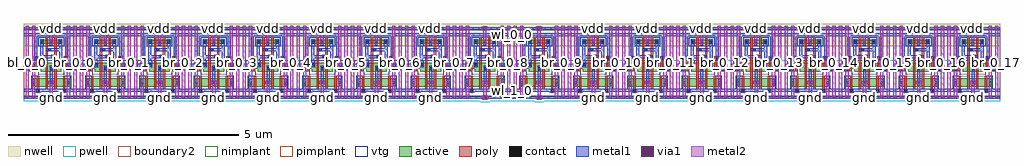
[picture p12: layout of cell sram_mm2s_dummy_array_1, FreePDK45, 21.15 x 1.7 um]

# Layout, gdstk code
import gdstk
lib = gdstk.Library(unit=1e-6, precision=5e-10)
def R(c, l, rs):  # rectangles x0, y0, x1, y1
    for r in rs: c.add(gdstk.rectangle(r[:2], r[2:], *l))
def A(c, l, x, y, w, h, nx, ny, dx, dy):  # array of equal rectangles
    R(c, l, [(x+i*dx, y+j*dy, x+i*dx+w, y+j*dy+h) for i in range(nx) for j in range(ny)])
active = (1, 0)
pwell = (2, 0)
nwell = (3, 0)
nimplant = (4, 0)
pimplant = (5, 0)
vtg = (6, 0)
poly = (9, 0)
contact = (10, 0)
metal1 = (11, 0)
via1 = (12, 0)
metal2 = (13, 0)
boundary2 = (239, 0)

dummy_cell_2rw = lib.new_cell('dummy_cell_2rw')
R(dummy_cell_2rw, active, [(0.545,-0.045,0.635,0.045), (0.165,0.2325,0.22,0.4125), (0.2075,0.2325,0.2775,0.4125), (0.2075,0.2325,0.3975,0.4125), (0.3275,0.2325,0.3975,0.4125), (0.3975,0.2325,0.4675,0.4125), (0.3975,0.2325,0.5875,0.4125), (0.5175,0.2325,0.5875,0.4125), (0.5525,0.2325,0.6275,0.4125), (0.5525,0.2325,0.6275,0.4125), (0.5525,0.2325,0.7775,0.4125), (0.7075,0.2325,0.7775,0.4125), (0.7775,0.2325,0.8475,0.4125), (0.7775,0.2325,0.9675,0.4125), (0.8975,0.2325,0.9675,0.4125), (0.955,0.2325,1.01,0.4125), (0.165,0.2775,0.255,0.3675), (0.92,0.2775,1.01,0.3675), (0.5525,0.2875,0.6275,0.3625), (0.3625,0.5525,0.4375,0.7575), (0.3625,0.5525,0.4375,0.7575), (0.3625,0.5525,0.5875,0.7575), (0.5175,0.5525,0.5875,0.7575), (0.5875,0.5525,0.6575,0.7575), (0.5875,0.5525,0.8125,0.7575), (0.7375,0.5525,0.8125,0.7575), (0.7375,0.5525,0.8125,0.7575), (0.545,0.5725,0.635,0.6625), (0.1575,0.6225,0.2325,0.6975), (0.1575,0.6225,0.2325,0.7575), (0.1575,0.6225,0.2325,0.7575), (0.1575,0.6225,0.3825,0.7575), (0.3125,0.6225,0.3825,0.7575), (0.7925,0.6225,0.8625,0.7575), (0.7925,0.6225,1.0175,0.7575), (0.9425,0.6225,1.0175,0.6975), (0.9425,0.6225,1.0175,0.7575), (0.9425,0.6225,1.0175,0.7575), (0.3625,0.6825,0.4375,0.7575), (0.7375,0.6825,0.8125,0.7575), (0.3625,1.1625,0.4375,1.2375), (0.3625,1.1625,0.4375,1.2525), (0.3625,1.1625,0.4375,1.2525), (0.3625,1.1625,0.6225,1.2525), (0.5475,1.1625,0.6225,1.2375), (0.5475,1.1625,0.6225,1.2525), (0.5475,1.1625,0.6225,1.2525), (0.5875,1.1625,0.6575,1.2525), (0.5875,1.1625,0.8125,1.2525), (0.7375,1.1625,0.8125,1.2375), (0.7375,1.1625,0.8125,1.2525), (0.7375,1.1625,0.8125,1.2525), (0.54,1.45,0.63,1.54)])
R(dummy_cell_2rw, pwell, [(0.49,-0.1,0.69,0.1), (0,-0.085,1.175,0.8125), (0.1525,0.1775,0.4525,0.4675), (0.3425,0.1775,0.6425,0.4675), (0.4975,0.1775,0.8325,0.4675), (0.7225,0.1775,1.0225,0.4675), (0.3075,0.4975,0.6425,0.8125), (0.5325,0.4975,0.8675,0.8125), (0.1025,0.5675,0.4375,0.8125), (0.7375,0.5675,1.0725,0.8125)])
R(dummy_cell_2rw, nwell, [(0,1.1075,1.175,1.595), (0.3075,1.1075,0.6775,1.3075), (0.5325,1.1075,0.8675,1.3075), (0.485,1.395,0.685,1.595)])
R(dummy_cell_2rw, nimplant, [(0.165,0.2325,0.22,0.4125), (0.2075,0.2325,0.3975,0.4125), (0.3975,0.2325,0.5875,0.4125), (0.5525,0.2325,0.7775,0.4125), (0.7775,0.2325,0.9675,0.4125), (0.955,0.2325,1.01,0.4125), (0.165,0.2775,0.255,0.3675), (0.92,0.2775,1.01,0.3675), (0.3625,0.5525,0.5875,0.7575), (0.5875,0.5525,0.8125,0.7575), (0.545,0.5725,0.635,0.6625), (0.1575,0.6225,0.3825,0.7575), (0.7925,0.6225,1.0175,0.7575), (0.54,1.45,0.63,1.54)])
R(dummy_cell_2rw, pimplant, [(0.545,-0.045,0.635,0.045), (0.3625,1.1625,0.6225,1.2525), (0.5875,1.1625,0.8125,1.2525)])
R(dummy_cell_2rw, vtg, [(0.1525,0.1775,0.4525,0.4675), (0.3425,0.1775,0.6425,0.4675), (0.4975,0.1775,0.8325,0.4675), (0.7225,0.1775,1.0225,0.4675), (0.3075,0.4975,0.6425,0.8125), (0.5325,0.4975,0.8675,0.8125), (0.1025,0.5675,0.4375,0.8125), (0.7375,0.5675,1.0725,0.8125), (0.3075,1.1075,0.6775,1.3075), (0.5325,1.1075,0.8675,1.3075)])
A(dummy_cell_2rw, poly, 0.2775, 0.1775, 0.05, 0.055, 4, 2, 0.19, 0.235)
A(dummy_cell_2rw, poly, 0.2775, 0.1775, 0.05, 0.29, 4, 1, 0.19, 0)
R(dummy_cell_2rw, poly, [(0.265,0.1075,0.34,0.1825), (0.835,0.1075,0.91,0.1825), (0.6575,0.44,0.7075,0.525), (0.4675,0.45,0.5175,0.525), (0.4675,0.4975,0.5175,0.8125), (0.4675,0.4975,0.5175,0.5525), (0.6575,0.4975,0.7075,0.8125), (0.6575,0.4975,0.7075,0.5525), (0.2625,0.5675,0.3125,0.6225), (0.2625,0.5675,0.3125,0.8125), (0.8625,0.5675,0.9125,0.6225), (0.8625,0.5675,0.9125,0.8125), (0.4675,0.7225,0.5175,1.135), (0.6575,0.7225,0.7075,1.135), (0.2625,0.7575,0.3125,0.8125), (0.4675,0.7575,0.5175,0.8125), (0.6575,0.7575,0.7075,0.8125), (0.8625,0.7575,0.9125,0.8125), (0.2625,0.8,0.3125,0.8975), (0.8625,0.8,0.9125,0.8975), (0.2125,0.8225,0.2875,0.8975), (0.8875,0.8225,0.9625,0.8975), (0.5925,0.8475,0.6675,0.9225), (0.5075,0.9975,0.5825,1.0725), (0.4675,1.1075,0.5175,1.1625), (0.4675,1.1075,0.5175,1.3075), (0.6575,1.1075,0.7075,1.1625), (0.6575,1.1075,0.7075,1.3075), (0.4675,1.2525,0.5175,1.3075), (0.6575,1.2525,0.7075,1.3075)])
R(dummy_cell_2rw, contact, [(0.5575,-0.0325,0.6225,0.0325), (0.27,0.1125,0.335,0.1775), (0.84,0.1125,0.905,0.1775), (0.1775,0.29,0.2425,0.355), (0.9325,0.29,0.9975,0.355), (0.5575,0.2925,0.6225,0.3575), (0.5575,0.585,0.6225,0.65), (0.1625,0.6275,0.2275,0.6925), (0.9475,0.6275,1.0125,0.6925), (0.3675,0.6875,0.4325,0.7525), (0.7425,0.6875,0.8075,0.7525), (0.2175,0.8275,0.2825,0.8925), (0.8925,0.8275,0.9575,0.8925), (0.5975,0.8525,0.6625,0.9175), (0.5125,1.0025,0.5775,1.0675), (0.3675,1.1675,0.4325,1.2325), (0.5525,1.1675,0.6175,1.2325), (0.7425,1.1675,0.8075,1.2325), (0.5525,1.4625,0.6175,1.5275)])
R(dummy_cell_2rw, metal1, [(0,-0.0325,1.175,0.0325), (0,-0.0325,1.175,0.0325), (0.235,0.1125,0.37,0.1775), (0.805,0.1125,0.94,0.1775), (0,0.1225,1.175,0.1875), (0,0.1225,1.175,0.1875), (0.1775,0.255,0.2425,0.39), (0.1775,0.255,0.2425,0.39), (0.9325,0.255,0.9975,0.39), (0.9325,0.255,0.9975,0.39), (0.5575,0.2575,0.6225,0.615), (0.5575,0.55,0.6225,0.685), (0.0375,0.5925,0.1025,0.7275), (0.0375,0.5925,0.2275,0.7275), (0.1625,0.5925,0.2275,0.7275), (0.9475,0.5925,1.0125,0.7275), (0.9475,0.5925,1.1375,0.7275), (1.0725,0.5925,1.1375,0.7275), (0.3475,0.6525,0.4125,1.2675), (0.3675,0.6525,0.4325,0.7875), (0.7425,0.6525,0.8075,0.7875), (0.7625,0.6525,0.8275,1.2675), (0.2175,0.7925,0.2825,0.9275), (0.8925,0.7925,0.9575,0.9275), (0.3675,0.8525,0.5825,0.9175), (0.5625,0.8525,0.6975,0.9175), (0.2175,0.895,0.2825,1.385), (0.8925,0.895,0.9575,1.385), (0.4775,1.0025,0.6125,1.0675), (0.5925,1.0025,0.8275,1.0675), (0.3675,1.1325,0.4325,1.2675), (0.5525,1.1325,0.6175,1.2675), (0.5525,1.1325,0.6175,1.2675), (0.7425,1.1325,0.8075,1.2675), (0,1.3325,1.175,1.3975), (0,1.3325,1.175,1.3975), (0,1.4625,1.175,1.5275), (0,1.4625,1.175,1.5275)])
R(dummy_cell_2rw, via1, [(0.5575,-0.0325,0.6225,0.0325), (0.5575,0.2925,0.6225,0.3575), (0.5525,1.1675,0.6175,1.2325), (0.5525,1.4625,0.6175,1.5275)])
R(dummy_cell_2rw, metal2, [(0.5225,-0.035,0.6575,0.035), (0.035,-0.015,0.105,1.56), (0.035,-0.015,0.105,1.56), (0.175,-0.015,0.245,1.56), (0.175,-0.015,0.245,1.56), (0.93,-0.015,1,1.56), (0.93,-0.015,1,1.56), (1.07,-0.015,1.14,1.56), (1.07,-0.015,1.14,1.56), (0.555,0.005,0.625,0.29), (0.175,0.255,0.245,0.39), (0.93,0.255,1,0.39), (0.5225,0.29,0.6575,0.36), (0.035,0.5925,0.105,0.7275), (1.07,0.5925,1.14,0.7275), (0.55,1.1325,0.62,1.2675), (1.0875,1.1375,1.1325,1.1725), (0.9525,1.145,0.985,1.175), (0.1925,1.155,0.23,1.18), (0.0475,1.1575,0.09,1.185), (0.55,1.1575,0.62,1.5275), (0.5175,1.46,0.6525,1.53)])
R(dummy_cell_2rw, boundary2, [(0,0,1.175,1.495)])
dummy_cell_2rw.add(gdstk.Label('gnd', (0.59,0), layer=11, texttype=0))
dummy_cell_2rw.add(gdstk.Label('wl1', (0.14,0.1625), layer=11, texttype=0))
dummy_cell_2rw.add(gdstk.Label('vdd', (0.585,1.495), layer=11, texttype=0))
dummy_cell_2rw.add(gdstk.Label('wl0', (0.14,1.355), layer=11, texttype=0))
dummy_cell_2rw.add(gdstk.Label('br0', (1.1075,1.1575), layer=13, texttype=0))
dummy_cell_2rw.add(gdstk.Label('br1', (0.9675,1.1625), layer=13, texttype=0))
dummy_cell_2rw.add(gdstk.Label('bl1', (0.205,1.1725), layer=13, texttype=0))
dummy_cell_2rw.add(gdstk.Label('bl0', (0.07,1.1725), layer=13, texttype=0))
dummy_cell_2rw.add(gdstk.Label('bl0', (0.07,0.7725), layer=13, texttype=0))
dummy_cell_2rw.add(gdstk.Label('br0', (1.105,0.7725), layer=13, texttype=0))
dummy_cell_2rw.add(gdstk.Label('bl1', (0.21,0.7725), layer=13, texttype=0))
dummy_cell_2rw.add(gdstk.Label('br1', (0.965,0.7725), layer=13, texttype=0))
dummy_cell_2rw.add(gdstk.Label('wl0', (0.5875,1.365), layer=11, texttype=0))
dummy_cell_2rw.add(gdstk.Label('wl1', (0.5875,0.155), layer=11, texttype=0))
dummy_cell_2rw.add(gdstk.Label('vdd', (0.5875,1.495), layer=11, texttype=0))
dummy_cell_2rw.add(gdstk.Label('gnd', (0.5875,0), layer=11, texttype=0))

sram_mm2s_dummy_array_1 = lib.new_cell('sram_mm2s_dummy_array_1')
A(sram_mm2s_dummy_array_1, metal1, 0, -0.0325, 1.175, 0.065, 18, 2, 1.175, 1.495)
R(sram_mm2s_dummy_array_1, metal1, [(0,0.1225,21.15,0.1875), (0,1.3325,21.15,1.3975)])
A(sram_mm2s_dummy_array_1, metal2, 0.93, 0, 0.07, 1.495, 4, 1, 0.14, 0)
A(sram_mm2s_dummy_array_1, metal2, 2.105, 0, 0.07, 1.495, 4, 1, 0.14, 0)
A(sram_mm2s_dummy_array_1, metal2, 3.28, 0, 0.07, 1.495, 4, 1, 0.14, 0)
A(sram_mm2s_dummy_array_1, metal2, 4.455, 0, 0.07, 1.495, 4, 1, 0.14, 0)
A(sram_mm2s_dummy_array_1, metal2, 5.63, 0, 0.07, 1.495, 4, 1, 0.14, 0)
A(sram_mm2s_dummy_array_1, metal2, 6.805, 0, 0.07, 1.495, 4, 1, 0.14, 0)
A(sram_mm2s_dummy_array_1, metal2, 7.98, 0, 0.07, 1.495, 4, 1, 0.14, 0)
A(sram_mm2s_dummy_array_1, metal2, 9.155, 0, 0.07, 1.495, 4, 1, 0.14, 0)
A(sram_mm2s_dummy_array_1, metal2, 10.33, 0, 0.07, 1.495, 4, 1, 0.14, 0)
A(sram_mm2s_dummy_array_1, metal2, 11.505, 0, 0.07, 1.495, 4, 1, 0.14, 0)
A(sram_mm2s_dummy_array_1, metal2, 12.68, 0, 0.07, 1.495, 4, 1, 0.14, 0)
A(sram_mm2s_dummy_array_1, metal2, 13.855, 0, 0.07, 1.495, 4, 1, 0.14, 0)
A(sram_mm2s_dummy_array_1, metal2, 15.03, 0, 0.07, 1.495, 4, 1, 0.14, 0)
A(sram_mm2s_dummy_array_1, metal2, 16.205, 0, 0.07, 1.495, 4, 1, 0.14, 0)
A(sram_mm2s_dummy_array_1, metal2, 17.38, 0, 0.07, 1.495, 4, 1, 0.14, 0)
A(sram_mm2s_dummy_array_1, metal2, 18.555, 0, 0.07, 1.495, 4, 1, 0.14, 0)
A(sram_mm2s_dummy_array_1, metal2, 19.73, 0, 0.07, 1.495, 4, 1, 0.14, 0)
R(sram_mm2s_dummy_array_1, metal2, [(0.035,0,0.105,1.495), (0.175,0,0.245,1.495), (20.905,0,20.975,1.495), (21.045,0,21.115,1.495)])
R(sram_mm2s_dummy_array_1, boundary2, [(0,0,21.15,1.495)])
sram_mm2s_dummy_array_1.add(gdstk.Reference(dummy_cell_2rw, (0,0)))
sram_mm2s_dummy_array_1.add(gdstk.Reference(dummy_cell_2rw, (1.175,0)))
sram_mm2s_dummy_array_1.add(gdstk.Reference(dummy_cell_2rw, (2.35,0)))
sram_mm2s_dummy_array_1.add(gdstk.Reference(dummy_cell_2rw, (3.525,0)))
sram_mm2s_dummy_array_1.add(gdstk.Reference(dummy_cell_2rw, (4.7,0)))
sram_mm2s_dummy_array_1.add(gdstk.Reference(dummy_cell_2rw, (5.875,0)))
sram_mm2s_dummy_array_1.add(gdstk.Reference(dummy_cell_2rw, (7.05,0)))
sram_mm2s_dummy_array_1.add(gdstk.Reference(dummy_cell_2rw, (8.225,0)))
sram_mm2s_dummy_array_1.add(gdstk.Reference(dummy_cell_2rw, (9.4,0)))
sram_mm2s_dummy_array_1.add(gdstk.Reference(dummy_cell_2rw, (10.575,0)))
sram_mm2s_dummy_array_1.add(gdstk.Reference(dummy_cell_2rw, (11.75,0)))
sram_mm2s_dummy_array_1.add(gdstk.Reference(dummy_cell_2rw, (12.925,0)))
sram_mm2s_dummy_array_1.add(gdstk.Reference(dummy_cell_2rw, (14.1,0)))
sram_mm2s_dummy_array_1.add(gdstk.Reference(dummy_cell_2rw, (15.275,0)))
sram_mm2s_dummy_array_1.add(gdstk.Reference(dummy_cell_2rw, (16.45,0)))
sram_mm2s_dummy_array_1.add(gdstk.Reference(dummy_cell_2rw, (17.625,0)))
sram_mm2s_dummy_array_1.add(gdstk.Reference(dummy_cell_2rw, (18.8,0)))
sram_mm2s_dummy_array_1.add(gdstk.Reference(dummy_cell_2rw, (19.975,0)))
sram_mm2s_dummy_array_1.add(gdstk.Label('bl_0_0', (0.07,0.7475), layer=13, texttype=0))
sram_mm2s_dummy_array_1.add(gdstk.Label('br_0_0', (1.105,0.7475), layer=13, texttype=0))
sram_mm2s_dummy_array_1.add(gdstk.Label('bl_1_0', (0.21,0.7475), layer=13, texttype=0))
sram_mm2s_dummy_array_1.add(gdstk.Label('br_1_0', (0.965,0.7475), layer=13, texttype=0))
sram_mm2s_dummy_array_1.add(gdstk.Label('bl_0_1', (1.245,0.7475), layer=13, texttype=0))
sram_mm2s_dummy_array_1.add(gdstk.Label('br_0_1', (2.28,0.7475), layer=13, texttype=0))
sram_mm2s_dummy_array_1.add(gdstk.Label('bl_1_1', (1.385,0.7475), layer=13, texttype=0))
sram_mm2s_dummy_array_1.add(gdstk.Label('br_1_1', (2.14,0.7475), layer=13, texttype=0))
sram_mm2s_dummy_array_1.add(gdstk.Label('bl_0_2', (2.42,0.7475), layer=13, texttype=0))
sram_mm2s_dummy_array_1.add(gdstk.Label('br_0_2', (3.455,0.7475), layer=13, texttype=0))
sram_mm2s_dummy_array_1.add(gdstk.Label('bl_1_2', (2.56,0.7475), layer=13, texttype=0))
sram_mm2s_dummy_array_1.add(gdstk.Label('br_1_2', (3.315,0.7475), layer=13, texttype=0))
sram_mm2s_dummy_array_1.add(gdstk.Label('bl_0_3', (3.595,0.7475), layer=13, texttype=0))
sram_mm2s_dummy_array_1.add(gdstk.Label('br_0_3', (4.63,0.7475), layer=13, texttype=0))
sram_mm2s_dummy_array_1.add(gdstk.Label('bl_1_3', (3.735,0.7475), layer=13, texttype=0))
sram_mm2s_dummy_array_1.add(gdstk.Label('br_1_3', (4.49,0.7475), layer=13, texttype=0))
sram_mm2s_dummy_array_1.add(gdstk.Label('bl_0_4', (4.77,0.7475), layer=13, texttype=0))
sram_mm2s_dummy_array_1.add(gdstk.Label('br_0_4', (5.805,0.7475), layer=13, texttype=0))
sram_mm2s_dummy_array_1.add(gdstk.Label('bl_1_4', (4.91,0.7475), layer=13, texttype=0))
sram_mm2s_dummy_array_1.add(gdstk.Label('br_1_4', (5.665,0.7475), layer=13, texttype=0))
sram_mm2s_dummy_array_1.add(gdstk.Label('bl_0_5', (5.945,0.7475), layer=13, texttype=0))
sram_mm2s_dummy_array_1.add(gdstk.Label('br_0_5', (6.98,0.7475), layer=13, texttype=0))
sram_mm2s_dummy_array_1.add(gdstk.Label('bl_1_5', (6.085,0.7475), layer=13, texttype=0))
sram_mm2s_dummy_array_1.add(gdstk.Label('br_1_5', (6.84,0.7475), layer=13, texttype=0))
sram_mm2s_dummy_array_1.add(gdstk.Label('bl_0_6', (7.12,0.7475), layer=13, texttype=0))
sram_mm2s_dummy_array_1.add(gdstk.Label('br_0_6', (8.155,0.7475), layer=13, texttype=0))
sram_mm2s_dummy_array_1.add(gdstk.Label('bl_1_6', (7.26,0.7475), layer=13, texttype=0))
sram_mm2s_dummy_array_1.add(gdstk.Label('br_1_6', (8.015,0.7475), layer=13, texttype=0))
sram_mm2s_dummy_array_1.add(gdstk.Label('bl_0_7', (8.295,0.7475), layer=13, texttype=0))
sram_mm2s_dummy_array_1.add(gdstk.Label('br_0_7', (9.33,0.7475), layer=13, texttype=0))
sram_mm2s_dummy_array_1.add(gdstk.Label('bl_1_7', (8.435,0.7475), layer=13, texttype=0))
sram_mm2s_dummy_array_1.add(gdstk.Label('br_1_7', (9.19,0.7475), layer=13, texttype=0))
sram_mm2s_dummy_array_1.add(gdstk.Label('bl_0_8', (9.47,0.7475), layer=13, texttype=0))
sram_mm2s_dummy_array_1.add(gdstk.Label('br_0_8', (10.505,0.7475), layer=13, texttype=0))
sram_mm2s_dummy_array_1.add(gdstk.Label('bl_1_8', (9.61,0.7475), layer=13, texttype=0))
sram_mm2s_dummy_array_1.add(gdstk.Label('br_1_8', (10.365,0.7475), layer=13, texttype=0))
sram_mm2s_dummy_array_1.add(gdstk.Label('bl_0_9', (10.645,0.7475), layer=13, texttype=0))
sram_mm2s_dummy_array_1.add(gdstk.Label('br_0_9', (11.68,0.7475), layer=13, texttype=0))
sram_mm2s_dummy_array_1.add(gdstk.Label('bl_1_9', (10.785,0.7475), layer=13, texttype=0))
sram_mm2s_dummy_array_1.add(gdstk.Label('br_1_9', (11.54,0.7475), layer=13, texttype=0))
sram_mm2s_dummy_array_1.add(gdstk.Label('bl_0_10', (11.82,0.7475), layer=13, texttype=0))
sram_mm2s_dummy_array_1.add(gdstk.Label('br_0_10', (12.855,0.7475), layer=13, texttype=0))
sram_mm2s_dummy_array_1.add(gdstk.Label('bl_1_10', (11.96,0.7475), layer=13, texttype=0))
sram_mm2s_dummy_array_1.add(gdstk.Label('br_1_10', (12.715,0.7475), layer=13, texttype=0))
sram_mm2s_dummy_array_1.add(gdstk.Label('bl_0_11', (12.995,0.7475), layer=13, texttype=0))
sram_mm2s_dummy_array_1.add(gdstk.Label('br_0_11', (14.03,0.7475), layer=13, texttype=0))
sram_mm2s_dummy_array_1.add(gdstk.Label('bl_1_11', (13.135,0.7475), layer=13, texttype=0))
sram_mm2s_dummy_array_1.add(gdstk.Label('br_1_11', (13.89,0.7475), layer=13, texttype=0))
sram_mm2s_dummy_array_1.add(gdstk.Label('bl_0_12', (14.17,0.7475), layer=13, texttype=0))
sram_mm2s_dummy_array_1.add(gdstk.Label('br_0_12', (15.205,0.7475), layer=13, texttype=0))
sram_mm2s_dummy_array_1.add(gdstk.Label('bl_1_12', (14.31,0.7475), layer=13, texttype=0))
sram_mm2s_dummy_array_1.add(gdstk.Label('br_1_12', (15.065,0.7475), layer=13, texttype=0))
sram_mm2s_dummy_array_1.add(gdstk.Label('bl_0_13', (15.345,0.7475), layer=13, texttype=0))
sram_mm2s_dummy_array_1.add(gdstk.Label('br_0_13', (16.38,0.7475), layer=13, texttype=0))
sram_mm2s_dummy_array_1.add(gdstk.Label('bl_1_13', (15.485,0.7475), layer=13, texttype=0))
sram_mm2s_dummy_array_1.add(gdstk.Label('br_1_13', (16.24,0.7475), layer=13, texttype=0))
sram_mm2s_dummy_array_1.add(gdstk.Label('bl_0_14', (16.52,0.7475), layer=13, texttype=0))
sram_mm2s_dummy_array_1.add(gdstk.Label('br_0_14', (17.555,0.7475), layer=13, texttype=0))
sram_mm2s_dummy_array_1.add(gdstk.Label('bl_1_14', (16.66,0.7475), layer=13, texttype=0))
sram_mm2s_dummy_array_1.add(gdstk.Label('br_1_14', (17.415,0.7475), layer=13, texttype=0))
sram_mm2s_dummy_array_1.add(gdstk.Label('bl_0_15', (17.695,0.7475), layer=13, texttype=0))
sram_mm2s_dummy_array_1.add(gdstk.Label('br_0_15', (18.73,0.7475), layer=13, texttype=0))
sram_mm2s_dummy_array_1.add(gdstk.Label('bl_1_15', (17.835,0.7475), layer=13, texttype=0))
sram_mm2s_dummy_array_1.add(gdstk.Label('br_1_15', (18.59,0.7475), layer=13, texttype=0))
sram_mm2s_dummy_array_1.add(gdstk.Label('bl_0_16', (18.87,0.7475), layer=13, texttype=0))
sram_mm2s_dummy_array_1.add(gdstk.Label('br_0_16', (19.905,0.7475), layer=13, texttype=0))
sram_mm2s_dummy_array_1.add(gdstk.Label('bl_1_16', (19.01,0.7475), layer=13, texttype=0))
sram_mm2s_dummy_array_1.add(gdstk.Label('br_1_16', (19.765,0.7475), layer=13, texttype=0))
sram_mm2s_dummy_array_1.add(gdstk.Label('bl_0_17', (20.045,0.7475), layer=13, texttype=0))
sram_mm2s_dummy_array_1.add(gdstk.Label('br_0_17', (21.08,0.7475), layer=13, texttype=0))
sram_mm2s_dummy_array_1.add(gdstk.Label('bl_1_17', (20.185,0.7475), layer=13, texttype=0))
sram_mm2s_dummy_array_1.add(gdstk.Label('br_1_17', (20.94,0.7475), layer=13, texttype=0))
sram_mm2s_dummy_array_1.add(gdstk.Label('wl_0_0', (10.575,1.365), layer=11, texttype=0))
sram_mm2s_dummy_array_1.add(gdstk.Label('wl_1_0', (10.575,0.155), layer=11, texttype=0))
sram_mm2s_dummy_array_1.add(gdstk.Label('vdd', (20.5625,1.495), layer=11, texttype=0))
sram_mm2s_dummy_array_1.add(gdstk.Label('vdd', (5.2875,1.495), layer=11, texttype=0))
sram_mm2s_dummy_array_1.add(gdstk.Label('vdd', (13.5125,1.495), layer=11, texttype=0))
sram_mm2s_dummy_array_1.add(gdstk.Label('vdd', (12.3375,1.495), layer=11, texttype=0))
sram_mm2s_dummy_array_1.add(gdstk.Label('vdd', (15.8625,1.495), layer=11, texttype=0))
sram_mm2s_dummy_array_1.add(gdstk.Label('vdd', (7.6375,1.495), layer=11, texttype=0))
sram_mm2s_dummy_array_1.add(gdstk.Label('vdd', (9.9875,1.495), layer=11, texttype=0))
sram_mm2s_dummy_array_1.add(gdstk.Label('vdd', (4.1125,1.495), layer=11, texttype=0))
sram_mm2s_dummy_array_1.add(gdstk.Label('vdd', (17.0375,1.495), layer=11, texttype=0))
sram_mm2s_dummy_array_1.add(gdstk.Label('vdd', (19.3875,1.495), layer=11, texttype=0))
sram_mm2s_dummy_array_1.add(gdstk.Label('vdd', (1.7625,1.495), layer=11, texttype=0))
sram_mm2s_dummy_array_1.add(gdstk.Label('vdd', (11.1625,1.495), layer=11, texttype=0))
sram_mm2s_dummy_array_1.add(gdstk.Label('vdd', (14.6875,1.495), layer=11, texttype=0))
sram_mm2s_dummy_array_1.add(gdstk.Label('vdd', (8.8125,1.495), layer=11, texttype=0))
sram_mm2s_dummy_array_1.add(gdstk.Label('vdd', (2.9375,1.495), layer=11, texttype=0))
sram_mm2s_dummy_array_1.add(gdstk.Label('vdd', (0.5875,1.495), layer=11, texttype=0))
sram_mm2s_dummy_array_1.add(gdstk.Label('vdd', (6.4625,1.495), layer=11, texttype=0))
sram_mm2s_dummy_array_1.add(gdstk.Label('vdd', (18.2125,1.495), layer=11, texttype=0))
sram_mm2s_dummy_array_1.add(gdstk.Label('gnd', (4.1125,0), layer=11, texttype=0))
sram_mm2s_dummy_array_1.add(gdstk.Label('gnd', (5.2875,0), layer=11, texttype=0))
sram_mm2s_dummy_array_1.add(gdstk.Label('gnd', (17.0375,0), layer=11, texttype=0))
sram_mm2s_dummy_array_1.add(gdstk.Label('gnd', (0.5875,0), layer=11, texttype=0))
sram_mm2s_dummy_array_1.add(gdstk.Label('gnd', (9.9875,0), layer=11, texttype=0))
sram_mm2s_dummy_array_1.add(gdstk.Label('gnd', (2.9375,0), layer=11, texttype=0))
sram_mm2s_dummy_array_1.add(gdstk.Label('gnd', (14.6875,0), layer=11, texttype=0))
sram_mm2s_dummy_array_1.add(gdstk.Label('gnd', (12.3375,0), layer=11, texttype=0))
sram_mm2s_dummy_array_1.add(gdstk.Label('gnd', (13.5125,0), layer=11, texttype=0))
sram_mm2s_dummy_array_1.add(gdstk.Label('gnd', (6.4625,0), layer=11, texttype=0))
sram_mm2s_dummy_array_1.add(gdstk.Label('gnd', (1.7625,0), layer=11, texttype=0))
sram_mm2s_dummy_array_1.add(gdstk.Label('gnd', (7.6375,0), layer=11, texttype=0))
sram_mm2s_dummy_array_1.add(gdstk.Label('gnd', (15.8625,0), layer=11, texttype=0))
sram_mm2s_dummy_array_1.add(gdstk.Label('gnd', (20.5625,0), layer=11, texttype=0))
sram_mm2s_dummy_array_1.add(gdstk.Label('gnd', (11.1625,0), layer=11, texttype=0))
sram_mm2s_dummy_array_1.add(gdstk.Label('gnd', (8.8125,0), layer=11, texttype=0))
sram_mm2s_dummy_array_1.add(gdstk.Label('gnd', (19.3875,0), layer=11, texttype=0))
sram_mm2s_dummy_array_1.add(gdstk.Label('gnd', (18.2125,0), layer=11, texttype=0))

lib.write_gds('sram_mm2s_dummy_array_1.gds')
